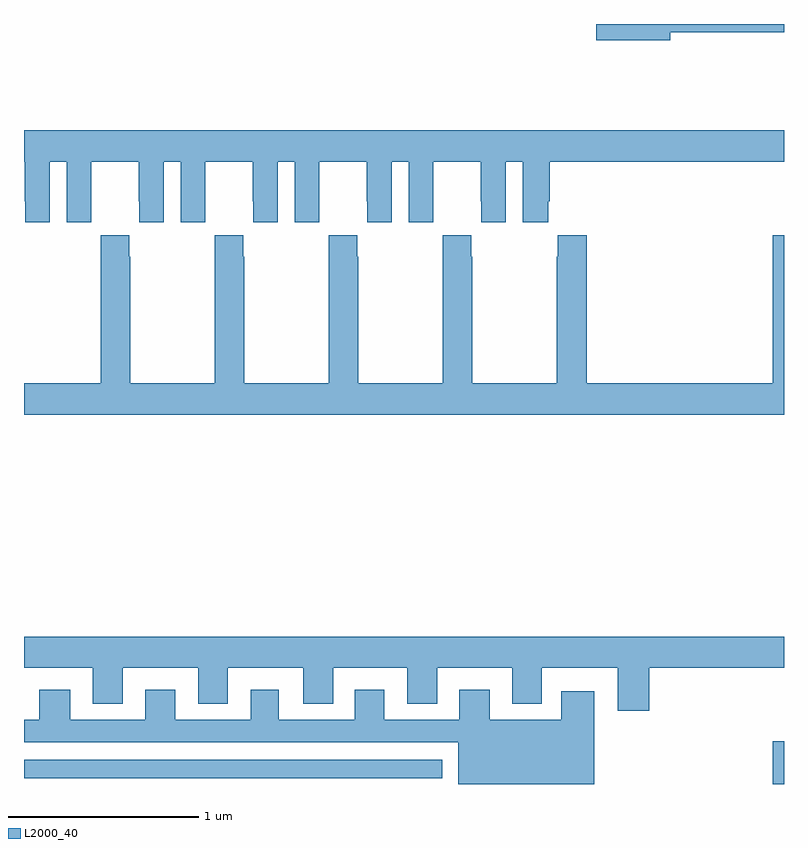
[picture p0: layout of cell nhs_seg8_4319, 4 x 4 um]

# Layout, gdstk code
import gdstk
lib = gdstk.Library(unit=1e-6, precision=1e-09)
def R(c, l, rs):  # rectangles x0, y0, x1, y1
    for r in rs: c.add(gdstk.rectangle(r[:2], r[2:], *l))
def P(c, l, *ps):  # polygons
    for p in ps: c.add(gdstk.Polygon(p, *l))
L2000_40 = (2000, 40)

nhs_seg8_4319 = lib.new_cell('nhs_seg8_4319')
R(nhs_seg8_4319, L2000_40, [(378.941,1103.9,379,1104.124), (375,1103.93,377.2,1104.027)])
P(nhs_seg8_4319, L2000_40, [(378.4,1107.856),(379,1107.856),(379,1107.9),(378.012,1107.9),(378.012,1107.814),(378.4,1107.814)],
  [(375,1107.176),(375.005,1107.176),(375.005,1106.968),(375.006,1106.968),(375.006,1106.856),(375.136,1106.856),(375.136,1107.176),(375.224,1107.176),(375.224,1106.856),(375.354,1106.856),(375.354,1106.968),(375.355,1106.968),(375.355,1107.176),(375.605,1107.176),(375.605,1106.968),(375.606,1106.968),(375.606,1106.856),(375.736,1106.856),(375.736,1107.176),(375.824,1107.176),(375.824,1106.856),(375.954,1106.856),(375.954,1106.968),(375.955,1106.968),(375.955,1107.176),(376.205,1107.176),(376.205,1106.968),(376.206,1106.968),(376.206,1106.856),(376.336,1106.856),(376.336,1107.176),(376.424,1107.176),(376.424,1106.856),(376.554,1106.856),(376.554,1106.968),(376.555,1106.968),(376.555,1107.176),(376.805,1107.176),(376.805,1106.968),(376.806,1106.968),(376.806,1106.856),(376.936,1106.856),(376.936,1107.176),(377.024,1107.176),(377.024,1106.856),(377.154,1106.856),(377.154,1106.968),(377.155,1106.968),(377.155,1107.176),(377.405,1107.176),(377.405,1106.968),(377.406,1106.968),(377.406,1106.856),(377.536,1106.856),(377.536,1107.176),(377.624,1107.176),(377.624,1106.856),(377.758,1106.856),(377.758,1106.968),(377.768,1106.968),(377.768,1107.176),(379,1107.176),(379,1107.34),(375,1107.34)],
  [(379,1106.788),(378.941,1106.788),(378.941,1106.008),(377.963,1106.008),(377.963,1106.788),(377.809,1106.788),(377.809,1106.675),(377.803,1106.675),(377.803,1106.008),(377.358,1106.008),(377.358,1106.675),(377.355,1106.675),(377.355,1106.788),(377.205,1106.788),(377.205,1106.675),(377.203,1106.675),(377.203,1106.008),(376.758,1106.008),(376.758,1106.675),(376.755,1106.675),(376.755,1106.788),(376.605,1106.788),(376.605,1106.675),(376.603,1106.675),(376.603,1106.008),(376.158,1106.008),(376.158,1106.675),(376.155,1106.675),(376.155,1106.788),(376.005,1106.788),(376.005,1106.675),(376.003,1106.675),(376.003,1106.008),(375.558,1106.008),(375.558,1106.675),(375.555,1106.675),(375.555,1106.788),(375.405,1106.788),(375.405,1106.675),(375.403,1106.675),(375.403,1106.008),(375,1106.008),(375,1105.844),(379,1105.844)],
  [(378.29,1104.512),(379,1104.512),(379,1104.676),(375,1104.676),(375,1104.512),(375.362,1104.512),(375.362,1104.323),(375.52,1104.323),(375.52,1104.512),(375.917,1104.512),(375.917,1104.323),(376.072,1104.323),(376.072,1104.512),(376.469,1104.512),(376.469,1104.323),(376.627,1104.323),(376.627,1104.512),(377.018,1104.512),(377.018,1104.323),(377.176,1104.323),(377.176,1104.512),(377.57,1104.512),(377.57,1104.323),(377.725,1104.323),(377.725,1104.512),(378.125,1104.512),(378.125,1104.285),(378.29,1104.285)],
  [(378.001,1104.388),(377.828,1104.388),(377.828,1104.238),(377.452,1104.238),(377.452,1104.397),(377.291,1104.397),(377.291,1104.238),(376.897,1104.238),(376.897,1104.397),(376.742,1104.397),(376.742,1104.238),(376.342,1104.238),(376.342,1104.397),(376.193,1104.397),(376.193,1104.238),(375.796,1104.238),(375.796,1104.397),(375.638,1104.397),(375.638,1104.238),(375.244,1104.238),(375.244,1104.397),(375.08,1104.397),(375.08,1104.238),(375,1104.238),(375,1104.119),(377.285,1104.119),(377.285,1103.9),(378.001,1103.9)])

lib.write_gds('nhs_seg8_4319.gds')
